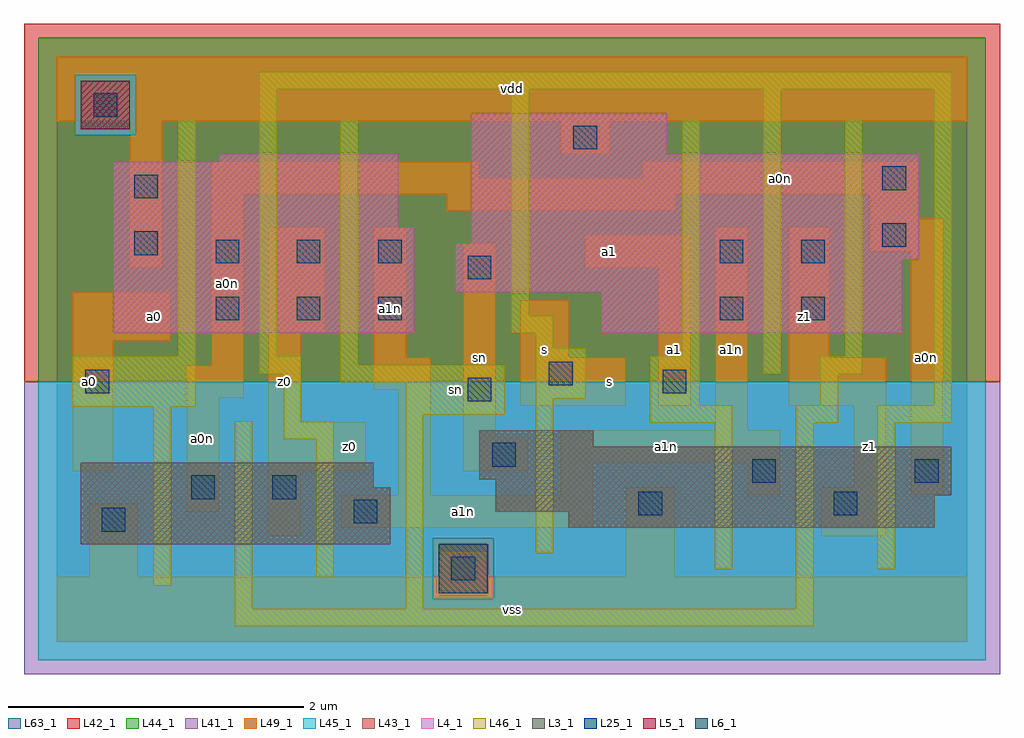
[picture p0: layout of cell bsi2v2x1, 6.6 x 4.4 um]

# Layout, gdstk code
import gdstk
lib = gdstk.Library(unit=1e-6, precision=1e-09)
def R(c, l, rs):  # rectangles x0, y0, x1, y1
    for r in rs: c.add(gdstk.rectangle(r[:2], r[2:], *l))
def A(c, l, x, y, w, h, nx, ny, dx, dy):  # array of equal rectangles
    R(c, l, [(x+i*dx, y+j*dy, x+i*dx+w, y+j*dy+h) for i in range(nx) for j in range(ny)])
L3_1 = (3, 1)
L4_1 = (4, 1)
L5_1 = (5, 1)
L6_1 = (6, 1)
L25_1 = (25, 1)
L41_1 = (41, 1)
L42_1 = (42, 1)
L43_1 = (43, 1)
L44_1 = (44, 1)
L45_1 = (45, 1)
L46_1 = (46, 1)
L49_1 = (49, 1)
L63_1 = (63, 1)

bsi2v2x1 = lib.new_cell('bsi2v2x1')
R(bsi2v2x1, L3_1, [(0.165,0.66,2.255,1.045), (3.465,0.77,5.94,0.88), (2.97,0.88,5.94,0.99), (2.97,0.99,6.05,1.1), (0.165,1.045,2.145,1.21), (2.86,1.1,6.05,1.32), (2.86,1.32,3.63,1.43)])
R(bsi2v2x1, L4_1, [(0.385,2.09,2.42,2.805), (3.685,2.09,5.72,2.365), (2.695,2.365,5.72,2.585), (2.695,2.585,5.83,2.695), (2.805,2.695,5.83,3.3), (0.385,2.805,2.31,3.245), (1.1,3.245,2.31,3.3), (2.805,3.3,4.125,3.575)])
R(bsi2v2x1, L5_1, [(0.165,3.465,0.495,3.795)])
R(bsi2v2x1, L6_1, [(2.585,0.33,2.915,0.66)])
A(bsi2v2x1, L25_1, 1.075, 2.175, 0.16, 0.16, 3, 2, 0.55, 0.385)
R(bsi2v2x1, L25_1, [(2.67,0.415,2.83,0.575), (0.305,0.745,0.465,0.905), (2.01,0.8,2.17,0.96), (3.935,0.855,4.095,1.015), (5.255,0.855,5.415,1.015), (0.91,0.965,1.07,1.125), (1.46,0.965,1.62,1.125), (4.705,1.075,4.865,1.235), (5.805,1.075,5.965,1.235), (2.945,1.185,3.105,1.345), (2.78,1.625,2.94,1.785), (0.195,1.68,0.355,1.84), (4.1,1.68,4.26,1.84), (3.33,1.735,3.49,1.895), (4.485,2.175,4.645,2.335), (5.035,2.175,5.195,2.335), (2.78,2.45,2.94,2.61), (4.485,2.56,4.645,2.72), (5.035,2.56,5.195,2.72), (0.525,2.615,0.685,2.775), (5.585,2.67,5.745,2.83), (0.525,3,0.685,3.16), (5.585,3.055,5.745,3.215), (3.495,3.33,3.655,3.49), (0.25,3.55,0.41,3.71)])
R(bsi2v2x1, L41_1, [(-0.22,-0.22,6.38,1.76)])
R(bsi2v2x1, L42_1, [(-0.22,1.76,6.38,4.18)])
R(bsi2v2x1, L43_1, [(2.585,0.33,2.915,0.66), (0.165,0.66,2.255,1.045), (3.465,0.77,5.94,0.88), (2.97,0.88,5.94,0.99), (2.97,0.99,6.05,1.1), (0.165,1.045,2.145,1.21), (2.86,1.1,6.05,1.32), (2.86,1.32,3.63,1.43), (0.385,2.09,2.42,2.805), (3.685,2.09,5.72,2.365), (2.695,2.365,5.72,2.585), (2.695,2.585,5.83,2.695), (2.805,2.695,5.83,3.3), (0.385,2.805,2.31,3.245), (1.1,3.245,2.31,3.3), (2.805,3.3,4.125,3.575), (0.165,3.465,0.495,3.795)])
R(bsi2v2x1, L44_1, [(2.545,0.29,2.955,0.7), (-0.125,1.76,6.285,3.425), (-0.125,3.425,0.125,3.835), (0.535,3.425,6.285,3.835), (-0.125,3.835,6.285,4.085)])
R(bsi2v2x1, L45_1, [(-0.125,-0.125,6.285,0.29), (-0.125,0.29,2.545,0.7), (2.955,0.29,6.285,0.7), (-0.125,0.7,6.285,1.76), (0.125,3.425,0.535,3.835)])
R(bsi2v2x1, L46_1, [(1.205,0.105,5.12,0.225), (1.205,0.225,1.325,1.49), (2.36,0.225,2.48,1.535), (5,0.225,5.12,1.48), (0.655,0.38,0.775,1.59), (1.755,0.435,1.875,1.37), (4.45,0.49,4.57,1.48), (5.55,0.49,5.67,1.48), (3.24,0.6,3.36,1.645), (1.535,1.37,1.875,1.49), (4.01,1.48,4.57,1.6), (5,1.48,5.285,1.6), (5.55,1.48,6.055,1.6), (1.535,1.49,1.655,1.81), (2.36,1.535,3.03,1.755), (0.105,1.59,0.94,1.93), (4.01,1.6,4.35,1.93), (5.165,1.6,5.285,1.81), (5.935,1.6,6.055,3.735), (3.24,1.645,3.58,1.985), (1.92,1.755,3.03,1.875), (1.37,1.81,1.655,1.93), (4.78,1.81,4.9,3.735), (5.165,1.81,5.45,1.93), (1.92,1.875,2.04,3.525), (0.82,1.93,0.94,3.525), (1.37,1.93,1.49,3.735), (4.23,1.93,4.35,3.525), (5.33,1.93,5.45,3.525), (3.24,1.985,3.36,2.085), (3.075,2.085,3.36,2.205), (3.075,2.205,3.195,3.735), (1.37,3.735,6.055,3.855)])
R(bsi2v2x1, L49_1, [(0,0,6.16,0.44), (0.22,0.44,0.55,0.935), (2.585,0.44,2.915,0.605), (3.85,0.44,4.18,1.045), (1.43,0.715,1.65,1.155), (5.17,0.715,5.61,1.045), (1.925,0.77,3.63,0.99), (0.88,0.88,1.1,1.65), (2.31,0.99,2.53,1.705), (3.41,0.99,3.63,1.21), (4.675,0.99,4.895,1.21), (5.775,0.99,5.995,2.64), (5.39,1.045,5.61,1.595), (0.11,1.155,0.385,2.035), (1.43,1.155,2.09,1.485), (2.75,1.155,3.19,1.375), (3.41,1.21,4.895,1.43), (2.75,1.375,2.97,2.695), (4.455,1.43,4.675,2.805), (1.43,1.485,1.65,2.09), (3.135,1.595,3.85,1.925), (4.07,1.595,4.29,2.53), (4.95,1.595,5.61,1.925), (0.88,1.65,1.265,1.87), (2.145,1.705,2.53,1.925), (1.045,1.87,1.265,3.025), (2.145,1.925,2.365,2.805), (3.135,1.925,3.465,2.31), (4.95,1.925,5.225,2.805), (0.11,2.035,0.77,2.365), (1.43,2.09,1.815,2.805), (0.495,2.53,0.715,3.52), (3.575,2.53,4.29,2.75), (5.5,2.64,5.995,2.86), (5.5,2.86,5.83,3.025), (2.64,2.915,4.18,3.025), (1.045,3.025,5.83,3.135), (1.045,3.135,2.86,3.245), (3.96,3.135,5.83,3.245), (3.41,3.3,3.74,3.52), (0,3.52,6.16,3.96)])
R(bsi2v2x1, L63_1, [(0,0,6.16,3.96)])
bsi2v2x1.add(gdstk.Label('sn', (2.695,1.705), layer=46, texttype=1))
bsi2v2x1.add(gdstk.Label('a0', (0.22,1.76), layer=49, texttype=1))
bsi2v2x1.add(gdstk.Label('a0n', (0.99,1.375), layer=49, texttype=1))
bsi2v2x1.add(gdstk.Label('a0', (0.66,2.2), layer=49, texttype=1))
bsi2v2x1.add(gdstk.Label('z0', (1.98,1.32), layer=49, texttype=1))
bsi2v2x1.add(gdstk.Label('z0', (1.54,1.76), layer=49, texttype=1))
bsi2v2x1.add(gdstk.Label('a1n', (2.255,2.255), layer=49, texttype=1))
bsi2v2x1.add(gdstk.Label('a0n', (1.155,2.42), layer=49, texttype=1))
bsi2v2x1.add(gdstk.Label('vss', (3.08,0.22), layer=49, texttype=1))
bsi2v2x1.add(gdstk.Label('a1n', (2.75,0.88), layer=49, texttype=1))
bsi2v2x1.add(gdstk.Label('s', (3.3,1.98), layer=49, texttype=1))
bsi2v2x1.add(gdstk.Label('sn', (2.86,1.925), layer=49, texttype=1))
bsi2v2x1.add(gdstk.Label('vdd', (3.08,3.74), layer=49, texttype=1))
bsi2v2x1.add(gdstk.Label('a1n', (4.125,1.32), layer=49, texttype=1))
bsi2v2x1.add(gdstk.Label('s', (3.74,1.76), layer=49, texttype=1))
bsi2v2x1.add(gdstk.Label('a1', (4.18,1.98), layer=49, texttype=1))
bsi2v2x1.add(gdstk.Label('a1n', (4.565,1.98), layer=49, texttype=1))
bsi2v2x1.add(gdstk.Label('a1', (3.74,2.64), layer=49, texttype=1))
bsi2v2x1.add(gdstk.Label('z1', (5.5,1.32), layer=49, texttype=1))
bsi2v2x1.add(gdstk.Label('z1', (5.06,2.2), layer=49, texttype=1))
bsi2v2x1.add(gdstk.Label('a0n', (5.885,1.925), layer=49, texttype=1))
bsi2v2x1.add(gdstk.Label('a0n', (4.895,3.135), layer=49, texttype=1))

lib.write_gds('bsi2v2x1.gds')
